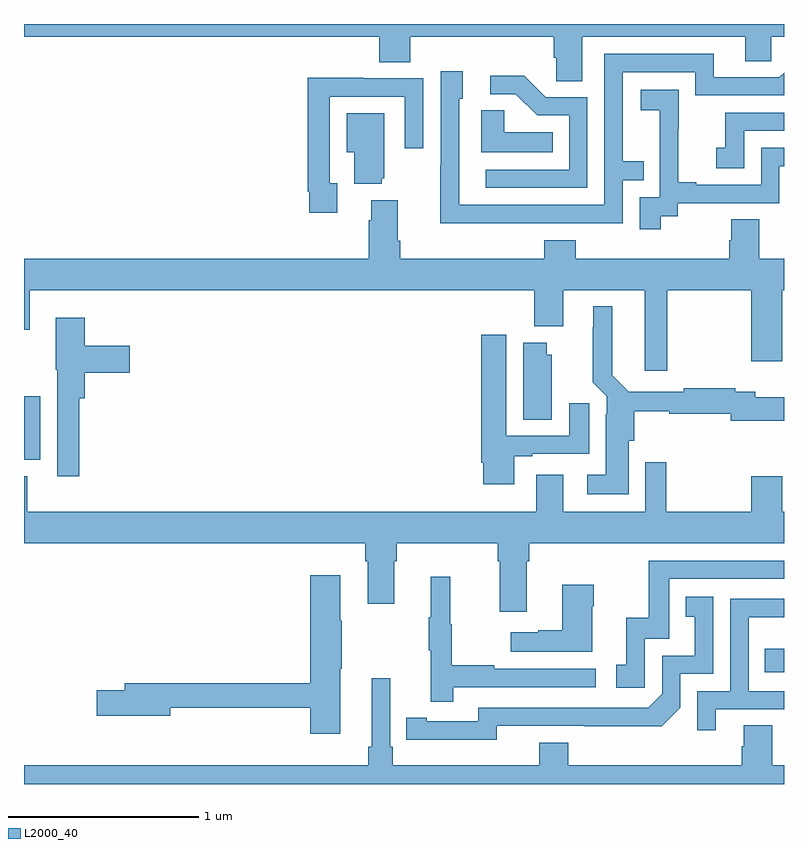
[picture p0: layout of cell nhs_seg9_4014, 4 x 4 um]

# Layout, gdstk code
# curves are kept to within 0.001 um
import gdstk
lib = gdstk.Library(unit=1e-6, precision=1e-09)
def R(c, l, rs):  # rectangles x0, y0, x1, y1
    for r in rs: c.add(gdstk.rectangle(r[:2], r[2:], *l))
def P(c, l, *ps):  # polygons
    for p in ps: c.add(gdstk.Polygon(p, *l))
L2000_40 = (2000, 40)

nhs_seg9_4014 = lib.new_cell('nhs_seg9_4014')
R(nhs_seg9_4014, L2000_40, [(344.899,1181.088,345,1181.211), (341,1182.206,341.085,1182.541)])
P(nhs_seg9_4014, L2000_40, [(343.939,1184.432),(344.795,1184.432),(344.795,1184.305),(344.934,1184.305),(344.934,1184.432),(345,1184.432),(345,1184.5),(341,1184.5),(341,1184.432),(342.869,1184.432),(342.869,1184.299),(343.034,1184.299),(343.034,1184.432),(343.787,1184.432),(343.787,1184.323),(343.8,1184.323),(343.8,1184.2),(343.939,1184.2)],
  [(343.655,1183.452),(344.151,1183.452),(344.151,1183.677),(344.261,1183.677),(344.261,1183.778),(344.151,1183.778),(344.151,1184.247),(344.532,1184.247),(344.532,1184.124),(345,1184.124),(345,1184.244),(344.976,1184.22),(344.629,1184.22),(344.629,1184.343),(344.055,1184.343),(344.055,1183.548),(343.29,1183.548),(343.29,1184.106),(343.309,1184.106),(343.309,1184.251),(343.194,1184.251),(343.194,1183.757),(343.192,1183.757),(343.192,1183.451)],
  [(343.965,1184.115),(343.746,1184.115),(343.633,1184.228),(343.455,1184.228),(343.455,1184.13),(343.589,1184.13),(343.7,1184.019),(343.869,1184.019),(343.869,1183.734),(343.431,1183.734),(343.431,1183.638),(343.965,1183.638)],
  [(342.649,1183.662),(342.609,1183.662),(342.609,1184.118),(343.005,1184.118),(343.005,1183.845),(343.101,1183.845),(343.101,1184.214),(342.785,1184.214),(342.785,1184.216),(342.493,1184.216),(342.493,1183.618),(342.501,1183.618),(342.501,1183.506),(342.649,1183.506)],
  [(344.35,1183.489),(344.442,1183.489),(344.442,1183.557),(344.976,1183.557),(344.976,1183.752),(345,1183.752),(345,1183.848),(344.88,1183.848),(344.88,1183.653),(344.539,1183.653),(344.539,1183.666),(344.444,1183.666),(344.444,1183.949),(344.445,1183.949),(344.445,1184.155),(344.247,1184.155),(344.247,1184.045),(344.345,1184.045),(344.345,1183.817),(344.346,1183.817),(344.346,1183.587),(344.241,1183.587),(344.241,1183.419),(344.35,1183.419)],
  [(343.784,1183.93),(343.527,1183.93),(343.527,1184.045),(343.406,1184.045),(343.406,1183.826),(343.784,1183.826)],
  [(344.79,1183.938),(345,1183.938),(345,1184.034),(344.692,1184.034),(344.692,1183.849),(344.643,1183.849),(344.643,1183.74),(344.79,1183.74)],
  [(342.884,1183.689),(342.895,1183.689),(342.895,1184.029),(342.698,1184.029),(342.698,1183.826),(342.737,1183.826),(342.737,1183.658),(342.884,1183.658)],
  [(344.385,1183.1),(344.828,1183.1),(344.828,1182.726),(344.992,1182.726),(344.992,1183.1),(345,1183.1),(345,1183.264),(344.871,1183.264),(344.871,1183.472),(344.723,1183.472),(344.723,1183.362),(344.711,1183.362),(344.711,1183.264),(343.904,1183.264),(343.904,1183.363),(343.739,1183.363),(343.739,1183.264),(342.98,1183.264),(342.98,1183.36),(342.967,1183.36),(342.967,1183.573),(342.827,1183.573),(342.827,1183.466),(342.815,1183.466),(342.815,1183.264),(341,1183.264),(341,1182.892),(341.03,1182.892),(341.03,1183.1),(343.685,1183.1),(343.685,1182.908),(343.837,1182.908),(343.837,1183.1),(344.267,1183.1),(344.267,1182.675),(344.385,1182.675)],
  [(344.182,1182.306),(344.213,1182.306),(344.213,1182.463),(344.396,1182.463),(344.396,1182.448),(344.72,1182.448),(344.72,1182.413),(345,1182.413),(345,1182.535),(344.848,1182.535),(344.848,1182.564),(344.744,1182.564),(344.744,1182.584),(344.473,1182.584),(344.473,1182.564),(344.182,1182.564),(344.095,1182.652),(344.095,1183.015),(343.997,1183.015),(343.997,1182.905),(343.993,1182.905),(343.993,1182.614),(344.067,1182.54),(344.067,1182.446),(344.063,1182.446),(344.063,1182.127),(343.965,1182.127),(343.965,1182.026),(344.182,1182.026)],
  [(341.291,1182.53),(341.321,1182.53),(341.321,1182.665),(341.557,1182.665),(341.557,1182.807),(341.321,1182.807),(341.321,1182.955),(341.168,1182.955),(341.168,1182.681),(341.175,1182.681),(341.175,1182.12),(341.291,1182.12)],
  [(343.579,1182.225),(343.675,1182.225),(343.675,1182.237),(343.975,1182.237),(343.975,1182.505),(343.871,1182.505),(343.871,1182.333),(343.537,1182.333),(343.537,1182.865),(343.406,1182.865),(343.406,1182.19),(343.418,1182.19),(343.418,1182.078),(343.579,1182.078)],
  [(343.777,1182.759),(343.75,1182.759),(343.75,1182.823),(343.628,1182.823),(343.628,1182.418),(343.777,1182.418)],
  [(343.645,1181.672),(343.658,1181.672),(343.658,1181.768),(345,1181.768),(345,1181.932),(344.992,1181.932),(344.992,1182.121),(344.828,1182.121),(344.828,1181.932),(344.38,1181.932),(344.38,1182.193),(344.271,1182.193),(344.271,1181.932),(343.837,1181.932),(343.837,1182.127),(343.697,1182.127),(343.697,1181.932),(341.017,1181.932),(341.017,1182.121),(341,1182.121),(341,1181.768),(342.797,1181.768),(342.797,1181.672),(342.809,1181.672),(342.809,1181.448),(342.949,1181.448),(342.949,1181.672),(342.962,1181.672),(342.962,1181.768),(343.493,1181.768),(343.493,1181.672),(343.505,1181.672),(343.505,1181.406),(343.645,1181.406)],
  [(344.268,1181.265),(344.397,1181.265),(344.397,1181.58),(345,1181.58),(345,1181.676),(344.289,1181.676),(344.289,1181.374),(344.171,1181.374),(344.171,1181.127),(344.118,1181.127),(344.118,1181.007),(344.268,1181.007)],
  [(342.664,1181.107),(342.672,1181.107),(342.672,1181.36),(342.664,1181.36),(342.664,1181.599),(342.506,1181.599),(342.506,1181.03),(341.531,1181.03),(341.531,1180.994),(341.382,1180.994),(341.382,1180.859),(341.77,1180.859),(341.77,1180.902),(342.506,1180.902),(342.506,1180.764),(342.664,1180.764)],
  [(343.259,1181.01),(344.008,1181.01),(344.008,1181.106),(343.475,1181.106),(343.475,1181.126),(343.252,1181.126),(343.252,1181.34),(343.244,1181.34),(343.244,1181.59),(343.142,1181.59),(343.142,1181.377),(343.131,1181.377),(343.131,1181.203),(343.142,1181.203),(343.142,1180.932),(343.259,1180.932)],
  [(343.99,1181.435),(343.998,1181.435),(343.998,1181.548),(343.832,1181.548),(343.832,1181.309),(343.706,1181.309),(343.706,1181.299),(343.563,1181.299),(343.563,1181.195),(343.99,1181.195)],
  [(343.488,1180.806),(344.356,1180.805),(344.454,1180.902),(344.454,1181.079),(344.628,1181.079),(344.628,1181.485),(344.482,1181.485),(344.482,1181.379),(344.531,1181.379),(344.531,1181.175),(344.358,1181.175),(344.358,1180.974),(344.286,1180.902),(343.392,1180.902),(343.392,1180.83),(343.12,1180.83),(343.12,1180.85),(343.012,1180.85),(343.012,1180.734),(343.488,1180.733)],
  [(344.641,1180.893),(345,1180.893),(345,1180.989),(344.814,1180.989),(344.814,1181.378),(345,1181.378),(345,1181.475),(344.718,1181.475),(344.718,1180.989),(344.544,1180.989),(344.544,1180.782),(344.641,1180.782)],
  [(345,1180.6),(344.937,1180.6),(344.937,1180.808),(344.789,1180.808),(344.789,1180.698),(344.777,1180.698),(344.777,1180.6),(343.865,1180.6),(343.865,1180.717),(343.712,1180.717),(343.712,1180.6),(342.941,1180.6),(342.941,1180.696),(342.927,1180.696),(342.927,1181.056),(342.83,1181.056),(342.83,1180.696),(342.811,1180.696),(342.811,1180.6),(341,1180.6),(341,1180.5),(345,1180.5)])

lib.write_gds('nhs_seg9_4014.gds')
